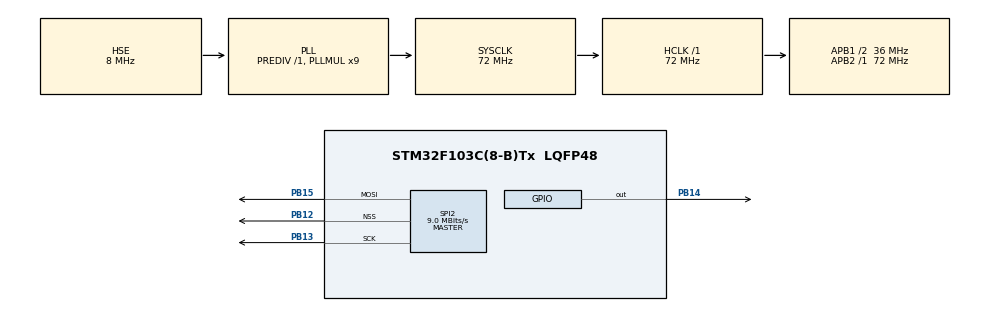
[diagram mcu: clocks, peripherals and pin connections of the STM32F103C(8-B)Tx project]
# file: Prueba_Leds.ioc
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Dma.Request0=SPI2_TX
Dma.SPI2_TX.0.Direction=DMA_MEMORY_TO_PERIPH
Dma.SPI2_TX.0.Instance=DMA1_Channel5
Dma.SPI2_TX.0.MemDataAlignment=DMA_MDATAALIGN_BYTE
Dma.SPI2_TX.0.MemInc=DMA_MINC_ENABLE
Dma.SPI2_TX.0.Mode=DMA_NORMAL
Dma.SPI2_TX.0.PeriphDataAlignment=DMA_PDATAALIGN_BYTE
Dma.SPI2_TX.0.PeriphInc=DMA_PINC_DISABLE
Dma.SPI2_TX.0.Priority=DMA_PRIORITY_LOW
Mcu.Family=STM32F1
Mcu.Name=STM32F103C(8-B)Tx
Mcu.Package=LQFP48
NVIC.PriorityGroup=NVIC_PRIORITYGROUP_4
PA13.Mode=Serial_Wire
PA13.Signal=SYS_JTMS-SWDIO
PA14.Mode=Serial_Wire
PA14.Signal=SYS_JTCK-SWCLK
PB12.Mode=NSS_Signal_Hard_Output
PB12.Signal=SPI2_NSS
PB13.Mode=TX_Only_Simplex_Unidirect_Master
PB13.Signal=SPI2_SCK
PB14.Signal=GPIO_Output
PB15.Mode=TX_Only_Simplex_Unidirect_Master
PB15.Signal=SPI2_MOSI
PD0-OSC_IN.Mode=HSE-External-Oscillator
PD0-OSC_IN.Signal=RCC_OSC_IN
PD1-OSC_OUT.Mode=HSE-External-Oscillator
PD1-OSC_OUT.Signal=RCC_OSC_OUT
ProjectManager.HeapSize=0x200
ProjectManager.StackSize=0x400
ProjectManager.TargetToolchain=STM32CubeIDE
RCC.AHBFreq_Value=72000000
RCC.APB1CLKDivider=RCC_HCLK_DIV2
RCC.APB1Freq_Value=36000000
RCC.APB1TimFreq_Value=72000000
RCC.APB2Freq_Value=72000000
RCC.APB2TimFreq_Value=72000000
RCC.HCLKFreq_Value=72000000
RCC.PLLMUL=RCC_PLL_MUL9
RCC.PLLSourceVirtual=RCC_PLLSOURCE_HSE
RCC.SYSCLKFreq_VALUE=72000000
RCC.SYSCLKSource=RCC_SYSCLKSOURCE_PLLCLK
RCC.USBFreq_Value=72000000
SPI2.BaudRatePrescaler=SPI_BAUDRATEPRESCALER_4
SPI2.CLKPolarity=SPI_POLARITY_HIGH
SPI2.CalculateBaudRate=9.0 MBits/s
SPI2.DataSize=SPI_DATASIZE_8BIT
SPI2.Direction=SPI_DIRECTION_2LINES
SPI2.FirstBit=SPI_FIRSTBIT_LSB
SPI2.Mode=SPI_MODE_MASTER
SPI2.VirtualNSS=VM_NSSHARD
SPI2.VirtualType=VM_MASTER
board=custom

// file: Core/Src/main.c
/* USER CODE BEGIN Header */
/**
  ******************************************************************************
  * @file           : main.c
  * @brief          : Main program body
  ******************************************************************************
  * @attention
  *
  * Copyright (c) 2022 STMicroelectronics.
  * All rights reserved.
  *
  * This software is licensed under terms that can be found in the LICENSE file
  * in the root directory of this software component.
  * If no LICENSE file comes with this software, it is provided AS-IS.
  *
  ******************************************************************************
  */
/* USER CODE END Header */
#include "main.h"

/* USER CODE BEGIN Includes */
#include "dwt.h"
/* USER CODE END Includes */

/* USER CODE BEGIN PD */
#define TIMEOUT 		5000
#define TIEMPO_DATOS	500 //ms

#define SALTOS_LEDS		16
#define CANT_LEDS		16
/* USER CODE END PD */

 SPI_HandleTypeDef hspi2;
DMA_HandleTypeDef hdma_spi2_tx;

/* USER CODE BEGIN PV */
uint32_t ticks = 0;

enum states {ESPERANDO_BUFFER,SETEOACERO,SET_LEDS,ENVIO_DATOS,ESPERANDO_TRANSFERENCIA};

/* USER CODE END PV */

void SystemClock_Config(void);
static void MX_GPIO_Init(void);
static void MX_DMA_Init(void);
static void MX_SPI2_Init(void);
/* USER CODE BEGIN PFP */
void TLC_data_cero(void);
void TLC_data_uno(void);
void set_led_val(uint8_t, uint16_t);
void enviarDatos(void);

/* USER CODE END PFP */

/* USER CODE BEGIN 0 */
uint8_t data[36];
uint32_t LEDS_BUFFER[9];

/* USER CODE END 0 */

int main(void)
{
  /* USER CODE BEGIN 1 */

	uint8_t i = 4,j=0;
	static uint8_t NextState = ESPERANDO_BUFFER;
	uint
  /* USER CODE END 1 */

  /* MCU Configuration--------------------------------------------------------*/

  /* Reset of all peripherals, Initializes the Flash interface and the Systick. */
  HAL_Init();

  /* Configure the system clock */
  SystemClock_Config();

  /* Initialize all configured peripherals */
  MX_GPIO_Init();
  MX_DMA_Init();
  MX_SPI2_Init();
  dwt_inic();

  /* Infinite loop */
  /* USER CODE BEGIN WHILE */
  while (1)
  {

	  dwt_reset();
	  for(j =0;j<20;j++){

		  switch(NextState){
		  case(SETEOACERO):
			  if(flag_graficar == 1)//el buffer se lleno
			  {
				  TLC_data_cero();
				  NextState = SET_LEDS;
			  }
		  break;

		  case(SET_LEDS):
		  	  if(flag_seteoacero == 1)
		  	  {
		  		for(i = 0; i < CANT_LEDS; i++)
		  		{
		  			set_led_val(i, buf[i*SALTOS_LEDS]);//ver si graficar los 16 leds de una o de a partes para no usar mucho % del tic
		  		}
		  		NextState = ENVIO_DATOS;
		  	  }
		  break;

		  case(ENVIO_DATOS):

			  enviarDatos();
			  NextState = ESPERANDO_TRANSFERENCIA;

		  break;

		  case(ESPERANDO_TRANSFERENCIA):
			  if(__HAL_DMA_GET_FLAG(hspi2->hdmatx,DMA_FLAG_TC5))
				{
					// Si entré acá es porque el dma llegó al final del buffer
					//(reinicia solo pero tengo que liberar el flag)
				  	__HAL_DMA_CLEAR_FLAG(hspi2->hdmatx,DMA_FLAG_TC5|DMA_FLAG_HT5|DMA_FLAG_TE5);
					hspi2.State = HAL_DMA_STATE_READY;
					hspi2.hdmatx->State = HAL_DMA_STATE_READY;
					hspi2.hdmatx->Lock = HAL_UNLOCKED;
					HAL_GPIO_WritePin(GPIOB, GPIO_PIN_14, GPIO_PIN_SET);

					NextState = ESPERANDO_TRANSFERENCIA;
				}
		  case(ESPERANDO_BUFFER):
			  if(flag_datos_enviados == 1)
			  {
				  NextState = SETEOACERO;
			  }
		  default:
			  break;
		  }

		  //TC1 transferencia completa canal 1
		  //HT1 transferencia por la mitad canal 1
		  if(__HAL_DMA_GET_FLAG(hspi2->hdmatx,DMA_FLAG_TC5))
			{
				 // Si entré acá es porque el dma llegó al final del buffer
				 //(reinicia solo pero tengo que liberar el flag)
				__HAL_DMA_CLEAR_FLAG(hspi2->hdmatx,DMA_FLAG_TC5|DMA_FLAG_HT5|DMA_FLAG_TE5);
				hspi2.State = HAL_DMA_STATE_READY;
				hspi2.hdmatx->State = HAL_DMA_STATE_READY;
				hspi2.hdmatx->Lock = HAL_UNLOCKED;
				HAL_GPIO_WritePin(GPIOB, GPIO_PIN_14, GPIO_PIN_SET);
			}

		  TLC_data_cero();
		  set_led_val(i,0xFFF);
		  enviarDatos();
		  //HAL_Delay(500);
		  i++;
		  if (i == 24)
		  {
			  i = 4;
		  }

	  }
	  if(dwt_read()>ticks)
	  {
	  	ticks = dwt_read();
	  }
    /* USER CODE END WHILE */

  }
}

void SystemClock_Config(void)
{
  RCC_OscInitTypeDef RCC_OscInitStruct = {0};
  RCC_ClkInitTypeDef RCC_ClkInitStruct = {0};

  /** Initializes the RCC Oscillators according to the specified parameters
  * in the RCC_OscInitTypeDef structure.
  */
  RCC_OscInitStruct.OscillatorType = RCC_OSCILLATORTYPE_HSE;
  RCC_OscInitStruct.HSEState = RCC_HSE_ON;
  RCC_OscInitStruct.HSEPredivValue = RCC_HSE_PREDIV_DIV1;
  RCC_OscInitStruct.HSIState = RCC_HSI_ON;
  RCC_OscInitStruct.PLL.PLLState = RCC_PLL_ON;
  RCC_OscInitStruct.PLL.PLLSource = RCC_PLLSOURCE_HSE;
  RCC_OscInitStruct.PLL.PLLMUL = RCC_PLL_MUL9;
  if (HAL_RCC_OscConfig(&RCC_OscInitStruct) != HAL_OK)
  {
    Error_Handler();
  }

  /** Initializes the CPU, AHB and APB buses clocks
  */
  RCC_ClkInitStruct.ClockType = RCC_CLOCKTYPE_HCLK|RCC_CLOCKTYPE_SYSCLK
                              |RCC_CLOCKTYPE_PCLK1|RCC_CLOCKTYPE_PCLK2;
  RCC_ClkInitStruct.SYSCLKSource = RCC_SYSCLKSOURCE_PLLCLK;
  RCC_ClkInitStruct.AHBCLKDivider = RCC_SYSCLK_DIV1;
  RCC_ClkInitStruct.APB1CLKDivider = RCC_HCLK_DIV2;
  RCC_ClkInitStruct.APB2CLKDivider = RCC_HCLK_DIV1;

  if (HAL_RCC_ClockConfig(&RCC_ClkInitStruct, FLASH_LATENCY_2) != HAL_OK)
  {
    Error_Handler();
  }
}

static void MX_SPI2_Init(void)
{

  /* SPI2 parameter configuration*/
  hspi2.Instance = SPI2;
  hspi2.Init.Mode = SPI_MODE_MASTER;
  hspi2.Init.Direction = SPI_DIRECTION_2LINES;
  hspi2.Init.DataSize = SPI_DATASIZE_8BIT;
  hspi2.Init.CLKPolarity = SPI_POLARITY_HIGH;
  hspi2.Init.CLKPhase = SPI_PHASE_1EDGE;
  hspi2.Init.NSS = SPI_NSS_HARD_OUTPUT;
  hspi2.Init.BaudRatePrescaler = SPI_BAUDRATEPRESCALER_4;
  hspi2.Init.FirstBit = SPI_FIRSTBIT_LSB;
  hspi2.Init.TIMode = SPI_TIMODE_DISABLE;
  hspi2.Init.CRCCalculation = SPI_CRCCALCULATION_DISABLE;
  hspi2.Init.CRCPolynomial = 10;
  if (HAL_SPI_Init(&hspi2) != HAL_OK)
  {
    Error_Handler();
  }

}

static void MX_DMA_Init(void)
{

  /* DMA controller clock enable */
  __HAL_RCC_DMA1_CLK_ENABLE();

}

static void MX_GPIO_Init(void)
{
  GPIO_InitTypeDef GPIO_InitStruct = {0};

  /* GPIO Ports Clock Enable */
  __HAL_RCC_GPIOD_CLK_ENABLE();
  __HAL_RCC_GPIOB_CLK_ENABLE();
  __HAL_RCC_GPIOA_CLK_ENABLE();

  /*Configure GPIO pin Output Level */
  HAL_GPIO_WritePin(GPIOB, GPIO_PIN_14, GPIO_PIN_RESET);

  /*Configure GPIO pin : PB14 */
  GPIO_InitStruct.Pin = GPIO_PIN_14;
  GPIO_InitStruct.Mode = GPIO_MODE_OUTPUT_PP;
  GPIO_InitStruct.Pull = GPIO_NOPULL;
  GPIO_InitStruct.Speed = GPIO_SPEED_FREQ_LOW;
  HAL_GPIO_Init(GPIOB, &GPIO_InitStruct);

}

/* USER CODE BEGIN 4 */
void TLC_data_cero(void)
 {
	uint8_t i = 0;
	for (i = 0; i < 9; i++)
	{
		LEDS_BUFFER[i] = 0;
	}
 }

 void TLC_data_uno(void)
 {
	uint8_t i = 0;
	for (i = 0; i < 9; i++)
	{
		LEDS_BUFFER[i] = 0xFFFFFFFF;
	}
 }

 void set_led_val(uint8_t led_index, uint16_t led_val)
 {
	uint8_t i;
	uint16_t buf[256];

	//led_index de dice el numero de led que está, vale de 0 a 23
	//de led_val me importan los ultimos 12 SIEMPRE

	//en cual de LEDS_BUFFER tengo que escribir (de los 9)
	uint8_t buffer_index = (led_index*3) >> 3; // multiplico por 3/8
	uint8_t shift_index = (led_index*12)-(32*buffer_index);
	led_val &= 0x0FFF;

	if ((shift_index != 24) && (shift_index != 28)) //el dato está entero, no se divide en 2 posiciones distintas
	{
		LEDS_BUFFER[buffer_index] &= ~(((0x00000FFF) << (shift_index))); //limpio datos anteriores
		LEDS_BUFFER[buffer_index] |= ((uint32_t)led_val << (shift_index));
	}
	if (shift_index == 24)
	{
		//caso de 2,10 y 18
		LEDS_BUFFER[buffer_index] &= (0x00FFFFFF); //limpio datos anteriores
		LEDS_BUFFER[buffer_index] |= ((uint32_t)led_val << shift_index); //primeros 8 bits de led_val van aca
		LEDS_BUFFER[buffer_index+1] &= (0xFFFFFFF0); //limpio datos anteriores
		LEDS_BUFFER[buffer_index+1] |= ((uint32_t)led_val >> 8); //ultimos 4 bits de led_val van acá
	}
	if (shift_index == 28)
	{
		//caso de 5,13 y 21
		LEDS_BUFFER[buffer_index] &= (0x0FFFFFFF); //limpio datos anteriores
		LEDS_BUFFER[buffer_index] |= ((uint32_t)led_val << shift_index); //primeros 4 bits de led_val van aca
		LEDS_BUFFER[buffer_index+1] &= (0xFFFFFF00); //limpio datos anteriores
		LEDS_BUFFER[buffer_index+1] |= ((uint32_t)led_val >> 4); //ultimos 8 bits de led_val van acá
	}

 /* SI FUNCIONA VERIFICAR ESTO
	//uno es 255 el otro 15*
	//si es 24, anteultimo bit en 0, si es 28, anteultimo bit en 0xF
	LEDS_BUFFER[buffer_index] &= ((0xFFFFFFF0) & (((uint32_t)shift_index-24)<<4));
	LEDS_BUFFER[buffer_index+1] &= ((0x0FFFFFFF) & ((!((uint32_t)shift_index-24))<< 28)); //limpio datos anteriores
	LEDS_BUFFER[buffer_index] |= ((uint32_t)led_val >> (shift_index-20));
	aa = (shift_index - 26)*2; //-2 o 2 si lo duplico es -4 o 4
	LEDS_BUFFER[buffer_index+1] |= ((uint32_t)led_val << (shift_index - aa));

*/
 }

 void enviarDatos(void)
 {
	HAL_GPIO_WritePin(GPIOB, GPIO_PIN_14, GPIO_PIN_SET);
	HAL_GPIO_WritePin(GPIOB, GPIO_PIN_14, GPIO_PIN_RESET);

	HAL_SPI_Transmit_DMA(&hspi2, (uint8_t *)LEDS_BUFFER, 36);

 }
/* USER CODE END 4 */

void Error_Handler(void)
{
  __disable_irq();
  while (1)
  {
  }
}
